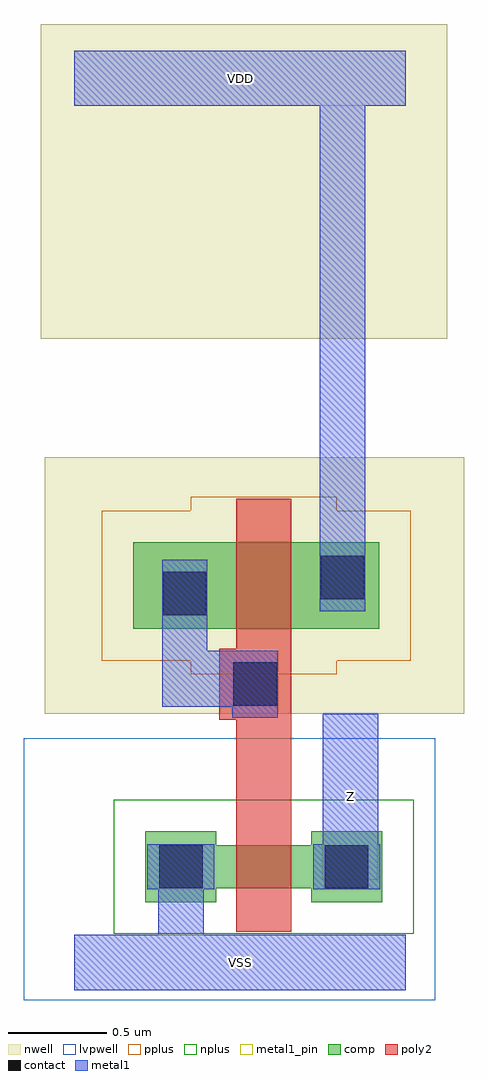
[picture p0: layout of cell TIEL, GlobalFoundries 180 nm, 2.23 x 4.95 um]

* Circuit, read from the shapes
.subckt TIEL VDD VSS Z
XM1 Z n1 VSS VSUBS nfet_03v3 w=0.22u l=0.28u
XM2 VDD n1 n1 n2 pfet_03v3 w=0.44u l=0.28u
.ends

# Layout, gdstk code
import gdstk
lib = gdstk.Library(unit=1e-6, precision=1e-09)
def R(c, l, rs):  # rectangles x0, y0, x1, y1
    for r in rs: c.add(gdstk.rectangle(r[:2], r[2:], *l))
nwell = (21, 0)
comp = (22, 0)
poly2 = (30, 0)
pplus = (31, 0)
nplus = (32, 0)
contact = (33, 0)
metal1 = (34, 0)
metal1_pin = (34, 10)
lvpwell = (204, 0)

tiel = lib.new_cell('TIEL')
R(tiel, nwell, [(-0.15,1.26,1.975,2.56), (-0.17,3.16,1.89,4.755)])
R(tiel, comp, [(0.36,0.305,0.72,0.375), (1.2,0.305,1.56,0.375), (0.36,0.375,1.56,0.595), (0.36,0.595,0.72,0.665), (1.2,0.595,1.56,0.665), (0.3,1.69,1.545,2.13)])
R(tiel, poly2, [(0.82,0.155,1.1,1.23), (0.735,1.23,1.1,1.59), (0.82,1.59,1.1,2.35)])
R(tiel, pplus, [(0.59,1.46,1.33,1.53), (0.14,1.53,1.705,2.29), (0.59,2.29,1.33,2.36)])
R(tiel, nplus, [(0.2,0.145,1.72,0.825)])
R(tiel, contact, [(0.43,0.375,0.65,0.595), (1.27,0.375,1.49,0.595), (0.805,1.3,1.025,1.52), (0.45,1.76,0.67,1.98), (1.25,1.84,1.47,2.06)])
R(tiel, metal1, [(0,-0.14,1.68,0.14), (0.425,0.14,0.655,0.37), (0.37,0.37,0.71,0.6), (1.21,0.37,1.55,0.6), (1.26,0.6,1.54,1.26), (0.8,1.24,1.03,1.295), (0.445,1.295,1.03,1.58), (0.445,1.58,0.675,2.04), (1.245,1.78,1.475,4.34), (0,4.34,1.68,4.62)])
R(tiel, metal1_pin, [(0,-0.14,1.68,0.14), (1.26,0.42,1.54,1.26), (0,4.34,1.68,4.62)])
R(tiel, lvpwell, [(-0.255,-0.19,1.83,1.135)])
tiel.add(gdstk.Label('VSS', (0.84,0), layer=34, texttype=10))
tiel.add(gdstk.Label('VDD', (0.84,4.48), layer=34, texttype=10))
tiel.add(gdstk.Label('Z', (1.4,0.84), layer=34, texttype=10))

lib.write_gds('TIEL.gds')
